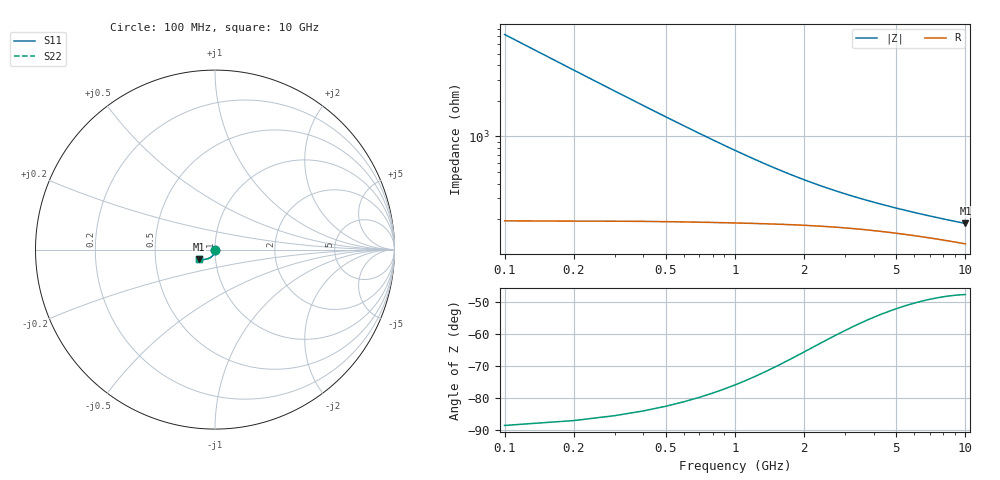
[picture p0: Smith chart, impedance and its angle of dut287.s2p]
! Touchstone file exported from HFSS 2024.1.0
!  File:  C:/UserFiles/LocalFiles/RDL_TSV_Batchsim/temp_TSV1_287_1778770680.aedt
!  Generated:  11:01:38 PM May 14, 2026
!  Design:  TSV1
!  Project:  temp_TSV1_287_1778770680
!  Setup:  Setup1
!  Solution:  Sweep
! Variables:
!  dtsv = 18.39um
!  hbump = 3um
!  htsv = 99.1um
!  lrdl = 252.1521522um
!  p = 40
!  p1 = 49.6um
!  t = 500um
!  trdl = 3um
!  wrdl = 24.89489489um
# GHz S MA R 50.000000
! Terminal data exported
! Port[1] = TSV22_T1
! Port[2] = TSV22_T2
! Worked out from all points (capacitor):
!   100 points, 100 MHz to 10 GHz, reference 50 ohm
!   read as one part in shunt: C = 220 fF near 100 MHz
!   lowest |Z| = 185 ohm at 10 GHz (marker M1)
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0.1  0.003094 -90.3  0.9998 -0.2  0.9998 -0.2  0.003094 -90.3
! Gamma 0 0 0 0
! Port Impedance 50 0 50 0
0.2  0.006214 -92.8  0.9995 -0.4  0.9995 -0.4  0.006214 -92.8
0.3  0.009301 -94.9  0.999 -0.6  0.999 -0.6  0.009301 -94.9
0.4  0.01235 -96.8  0.9983 -0.9  0.9983 -0.9  0.01235 -96.8
0.5  0.01535 -98.6  0.9975 -1.1  0.9975 -1.1  0.01535 -98.6
0.6  0.0183 -100.4  0.9965 -1.3  0.9965 -1.3  0.0183 -100.4
0.7  0.02118 -102.1  0.9953 -1.5  0.9953 -1.5  0.02118 -102.1
0.8  0.02398 -103.8  0.9941 -1.6  0.9941 -1.6  0.02398 -103.8
0.9  0.02671 -105.4  0.9928 -1.8  0.9928 -1.8  0.02671 -105.4
1.1  0.03192 -108.5  0.9898 -2.2  0.9898 -2.2  0.03192 -108.5
1.4  0.03906 -112.8  0.985 -2.6  0.985 -2.6  0.03906 -112.8
1.6  0.04338 -115.4  0.9817 -2.9  0.9817 -2.9  0.04338 -115.4
1.8  0.04736 -117.8  0.9784 -3.1  0.9784 -3.1  0.04736 -117.8
2.1  0.05274 -121.1  0.9735 -3.4  0.9735 -3.4  0.05274 -121.1
2.5  0.05895 -124.8  0.9673 -3.8  0.9673 -3.8  0.05895 -124.8
2.9  0.06426 -128.0  0.9616 -4.1  0.9616 -4.1  0.06426 -128.0
3.4  0.06991 -131.2  0.9553 -4.4  0.9553 -4.4  0.06991 -131.2
4.2  0.07727 -135.3  0.9467 -4.8  0.9467 -4.8  0.07727 -135.3
5.1  0.08387 -138.8  0.9388 -5.2  0.9388 -5.2  0.08387 -138.8
6.7  0.09279 -143.3  0.928 -5.9  0.928 -5.9  0.09279 -143.3
8.4  0.09974 -146.6  0.9195 -6.5  0.9195 -6.5  0.09974 -146.6
10  0.1048 -148.8  0.9135 -7.1  0.9135 -7.1  0.1048 -148.8
